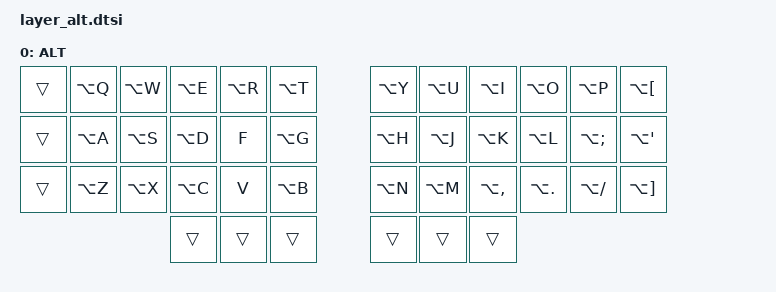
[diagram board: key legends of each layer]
/**
 * ALT Layer
 */

/ {
    keymap {
        compatible = "zmk,keymap";

        alt_layer {
            display-name = "ALT";
            bindings = <
// ╭───────────────┬───────────────┬───────────────┬───────────────┬───────────────┬───────────────╮   ╭───────────────┬───────────────┬───────────────┬───────────────┬───────────────┬───────────────╮
// │0              │1              │2              │3              │4              │5              │   │6              │7              │8              │9              │10             │11             │
    &trans          &kp LA(Q)       &kp LA(W)       &kp LA(E)       &kp LA(R)       &kp LA(T)           &kp LA(Y)       &kp LA(U)       &kp LA(I)       &kp LA(O)       &kp LA(P)       &kp LA(LBKT)
// ├───────────────├───────────────┼───────────────┼───────────────┼───────────────┼───────────────┤   ├───────────────├───────────────┼───────────────┼───────────────┼───────────────┼───────────────┤
// │12             │13             │14             │15             │16             │17             │   │18             │19             │20             │21             │22             │23             │
    &trans          &kp LA(A)       &kp LA(S)       &kp LA(D)       &kp F           &kp LA(G)           &kp LA(H)       &kp LA(J)       &kp LA(K)       &kp LA(L)       &kp LA(SEMI)    &kp LA(SQT)
// ├───────────────├───────────────┼───────────────┼───────────────┼───────────────┼───────────────┤   ├───────────────├───────────────┼───────────────┼───────────────┼───────────────┼───────────────┤
// │24             │25             │26             │27             │28             │29             │   │30             │31             │32             │33             │34             │35             │
    &trans          &kp LA(Z)       &kp LA(X)       &kp LA(C)       &kp V           &kp LA(B)           &kp LA(N)       &kp LA(M)       &kp LA(COMMA)   &kp LA(DOT)     &kp LA(FSLH)    &kp LA(RBKT)
// ╰───────────────┴───────────────┴───────────────┼───────────────┼───────────────┼───────────────┤   ├───────────────├───────────────┼───────────────┼───────────────┴───────────────┴───────────────╯
//                                                 │36             │37             │38             │   │39             │40             │41             │
                                                    &trans          &trans          &trans              &trans          &trans          &trans
//                                                 ╰───────────────┴───────────────┴───────────────╯   ╰───────────────┴───────────────┴───────────────╯
            >;
        };
    };
};
